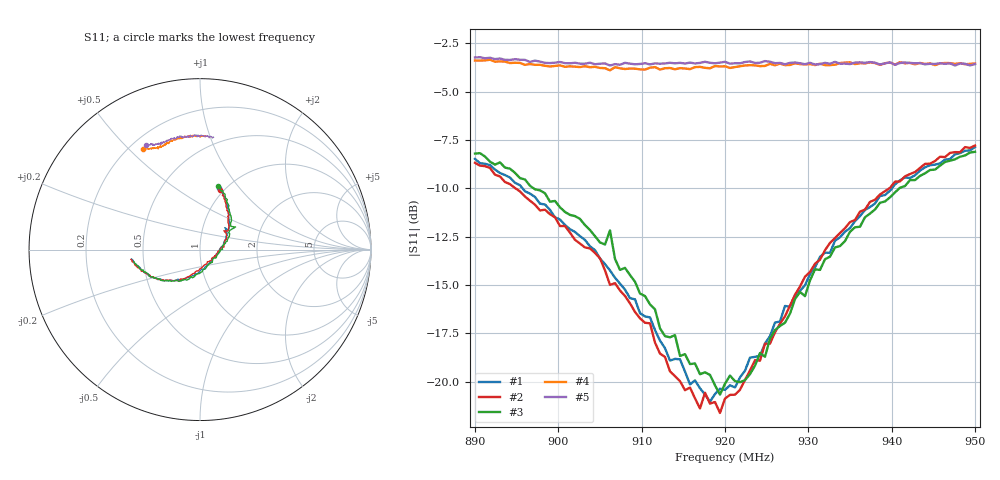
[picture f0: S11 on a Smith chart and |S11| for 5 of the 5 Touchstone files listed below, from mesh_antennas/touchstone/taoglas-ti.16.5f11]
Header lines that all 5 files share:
# HZ S RI R 50
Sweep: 890 MHz to 950 MHz
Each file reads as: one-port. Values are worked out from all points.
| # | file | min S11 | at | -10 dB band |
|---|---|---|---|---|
| 1 | gp-disc-20cm_kg5hzc_sample2.s1p | -21.0 dB | 918.2 MHz | 44.31 MHz wide |
| 2 | gp-disc-20cm_n5eks_sample1.s1p | -21.6 dB | 919.4 MHz | 44.86 MHz wide |
| 3 | gp-disc-20cm_n5eks_sample3.s1p | -20.7 dB | 919.4 MHz | 43.89 MHz wide |
| 4 | gp-none_n5eks_sample1.s1p | -3.9 dB | 906.2 MHz | - |
| 5 | gp-none_n5eks_sample2.s1p | -3.7 dB | 947.6 MHz | - |
